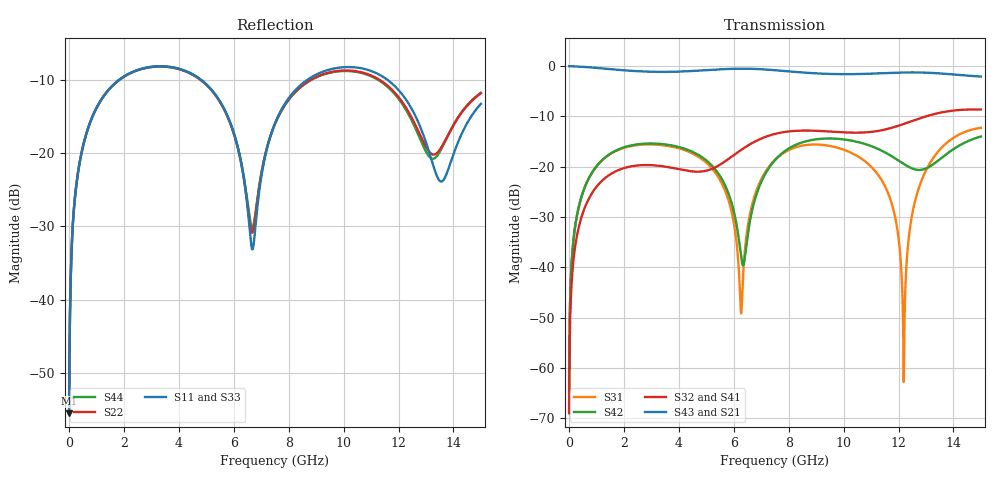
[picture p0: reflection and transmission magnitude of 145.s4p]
! Created with skrf 1.8.0 (http://scikit-rf.org).
# GHz S RI R 50.0
!freq ReS11 ImS11 ReS12 ImS12 ReS13 ImS13
! ReS14 ImS14
! ReS21 ImS21 ReS22 ImS22 ReS23 ImS23
! ReS24 ImS24
! ReS31 ImS31 ReS32 ImS32 ReS33 ImS33
! ReS34 ImS34
! ReS41 ImS41 ReS42 ImS42 ReS43 ImS43
! ReS44 ImS44
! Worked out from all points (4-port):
!   2499 points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, 5 MHz to 15 GHz, reference 50 ohm
!   strongest paths, dB at 5 MHz, 3.476 GHz, 7.19 GHz, 11.1 GHz, 15 GHz:
!     S43: 0.0, -1.1, -0.7, -1.5, -2.1
!     S21: 0.0, -1.1, -0.7, -1.5, -2.1
!     S32: -69.0, -19.9, -14.0, -13.0, -8.6
!     S41: -69.0, -20.0, -14.0, -13.1, -8.6
!     S42: -64.9, -15.5, -21.0, -16.1, -14.0
!     S31: -64.9, -15.8, -20.7, -20.5, -12.3
!   lowest |S11| = -55.5 dB at 5 MHz (marker M1), VSWR 1.00, Z = 50.1 + j0.102 ohm
!   |S11| at or under -10 dB: start of sweep to 1.842 GHz; 4.799 GHz to 8.696 GHz (3.896 GHz wide, 57.7 % of centre); 11.58 GHz to end of sweep
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0.005  0.00134 0.00102  0.9986 -0.00262  6.78e-05 0.000567  -6.57e-05 -0.00035
       0.9986 -0.00262  0.00134 0.00102  -6.57e-05 -0.00035  6.79e-05 0.000567
       6.78e-05 0.000567  -6.57e-05 -0.00035  0.00134 0.00102  0.9986 -0.00262
       -6.57e-05 -0.00035  6.79e-05 0.000567  0.9986 -0.00262  0.00134 0.00102
0.4126719  0.0263 0.0871  0.9635 -0.2135  0.013 0.0441  -0.0109 -0.0267
           0.9635 -0.2135  0.0262 0.0871  -0.0109 -0.0267  0.0135 0.0439
           0.013 0.0441  -0.0109 -0.0267  0.0263 0.0871  0.9635 -0.2135
           -0.0109 -0.0267  0.0135 0.0439  0.9635 -0.2135  0.0262 0.0871
1.975823  0.2815 0.1708  0.522 -0.7453  0.1383 0.0664  -0.0965 -0.000997
          0.522 -0.7453  0.2795 0.1721  -0.0965 -0.000949  0.1437 0.0585
          0.1383 0.0664  -0.0965 -0.000949  0.2814 0.1708  0.522 -0.7453
          -0.0965 -0.000997  0.1437 0.0585  0.522 -0.7453  0.2795 0.1721
6.652772  0.0219 -0.00609  -0.9368 -0.0803  0.0086 0.0394  -0.0101 0.1707
          -0.9368 -0.0803  0.0285 -0.00362  -0.00988 0.1708  -0.000323 0.0352
          0.0086 0.0394  -0.00988 0.1708  0.0196 -0.00743  -0.9368 -0.0809
          -0.0101 0.1707  -0.000323 0.0352  -0.9368 -0.0809  0.0309 -0.00465
10.67945  0.3659 -0.0867  0.1123 0.8267  0.1054 -0.0551  0.2028 -0.0785
          0.1123 0.8267  0.3479 -0.06  0.2033 -0.0808  0.0947 -0.1431
          0.1054 -0.0551  0.2033 -0.0808  0.3621 -0.0807  0.1128 0.8284
          0.2028 -0.0785  0.0947 -0.1431  0.1128 0.8284  0.3432 -0.0651
12.19258  0.1689 -0.1738  0.6329 0.5862  0.000621 0.000382  0.1763 -0.1992
          0.6329 0.5862  0.1733 -0.1263  0.1743 -0.2015  -0.0713 -0.0793
          0.000621 0.000382  0.1743 -0.2015  0.1684 -0.1661  0.6351 0.586
          0.1763 -0.1992  -0.0713 -0.0793  0.6351 0.586  0.1651 -0.1263
15  0.1863 0.1093  0.6628 -0.4259  0.219 0.1072  -0.2508 -0.2723
    0.6628 -0.4259  0.2341 0.0999  -0.2531 -0.2705  0.1691 0.1065
    0.219 0.1072  -0.2531 -0.2705  0.1884 0.1109  0.6619 -0.4262
    -0.2508 -0.2723  0.1691 0.1065  0.6619 -0.4262  0.2349 0.1035
